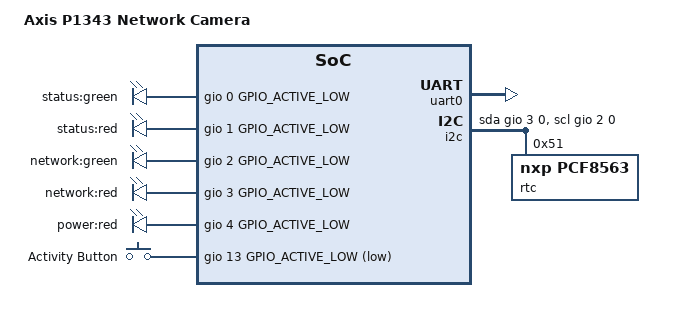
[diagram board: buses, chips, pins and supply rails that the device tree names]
// SPDX-License-Identifier: GPL-2.0
/dts-v1/;

#include <dt-bindings/gpio/gpio.h>
#include <dt-bindings/input/input.h>

/include/ "artpec3.dtsi"

/ {
	model = "Axis P1343 Network Camera";
	compatible = "axis,p1343";

	aliases {
		serial0 = &uart0;
	};

	soc {
		uart0: serial@b003e000 {
			status = "okay";
		};
	};

	i2c {
		compatible = "i2c-gpio";
		gpios = <&gio 3 0 0xa>, <&gio 2 0 0xa>;
		i2c-gpio,delay-us = <2>;
		#address-cells = <1>;
		#size-cells = <0>;

		rtc@51 {
			compatible = "nxp,pcf8563";
			reg = <0x51>;
		};
	};

	leds {
		compatible = "gpio-leds";

		status_green {
			label = "status:green";
			gpios = <&gio 0 GPIO_ACTIVE_LOW 0xc>;
			linux,default-trigger = "heartbeat";
		};

		status_red {
			label = "status:red";
			gpios = <&gio 1 GPIO_ACTIVE_LOW 0xc>;
		};

		network_green {
			label = "network:green";
			gpios = <&gio 2 GPIO_ACTIVE_LOW 0xc>;
		};

		network_red {
			label = "network:red";
			gpios = <&gio 3 GPIO_ACTIVE_LOW 0xc>;
		};

		power_red {
			label = "power:red";
			gpios = <&gio 4 GPIO_ACTIVE_LOW 0xc>;
		};
	};

	gpio_keys {
		compatible = "gpio-keys";
		#address-cells = <1>;
		#size-cells = <0>;

		activity-button@0 {
			label = "Activity Button";
			linux,code = <KEY_FN>;
			gpios = <&gio 13 GPIO_ACTIVE_LOW 0xd>;
		};
	};
};
